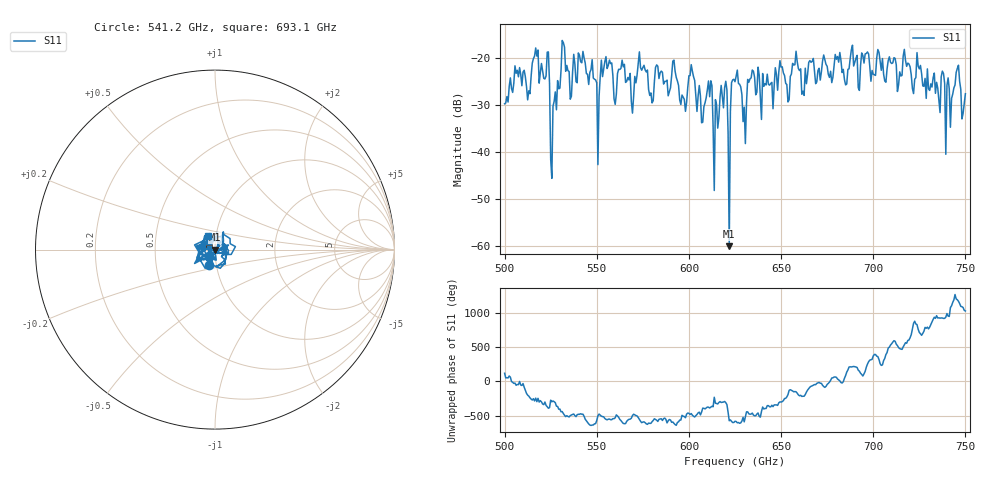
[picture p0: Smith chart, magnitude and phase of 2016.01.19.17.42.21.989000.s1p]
!Created with skrf (http://scikit-rf.org).
# GHz S RI R 50.0
!freq ReS11 ImS11
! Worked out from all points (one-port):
!   401 points, 500 GHz to 750 GHz, reference 50 ohm
!   lowest |S11| = -60.1 dB at 621.9 GHz (marker M1), VSWR 1.00, Z = 49.9 + j0.0535 ohm
!   |S11| at or under -10 dB: start of sweep to end of sweep
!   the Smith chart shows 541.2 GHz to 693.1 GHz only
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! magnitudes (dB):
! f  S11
! 500 GHz  -29.7
! 506.9 GHz  -22.6
! 513.1 GHz  -27.0
! 516.9 GHz  -17.8
! 523.1 GHz  -18.7
! 526.2 GHz  -30.2
! 531.2 GHz  -16.2
! 535.6 GHz  -28.7
! 541.9 GHz  -21.0
! 550 GHz  -25.3
! 553.8 GHz  -22.3
! 562.5 GHz  -22.4
! 570 GHz  -28.2
! 573.8 GHz  -22.0
! 593.8 GHz  -24.9
! 601.9 GHz  -22.8
! 608.1 GHz  -30.3
! 611.2 GHz  -28.2
! 614.4 GHz  -28.8
! 619.4 GHz  -26.3
! 621.9 GHz  -60.1
! 625 GHz  -25.0
! 630 GHz  -30.4
! 633.8 GHz  -24.2
! 656.2 GHz  -21.1
! 687.5 GHz  -20.1
! 718.8 GHz  -21.1
! 750 GHz  -27.6
